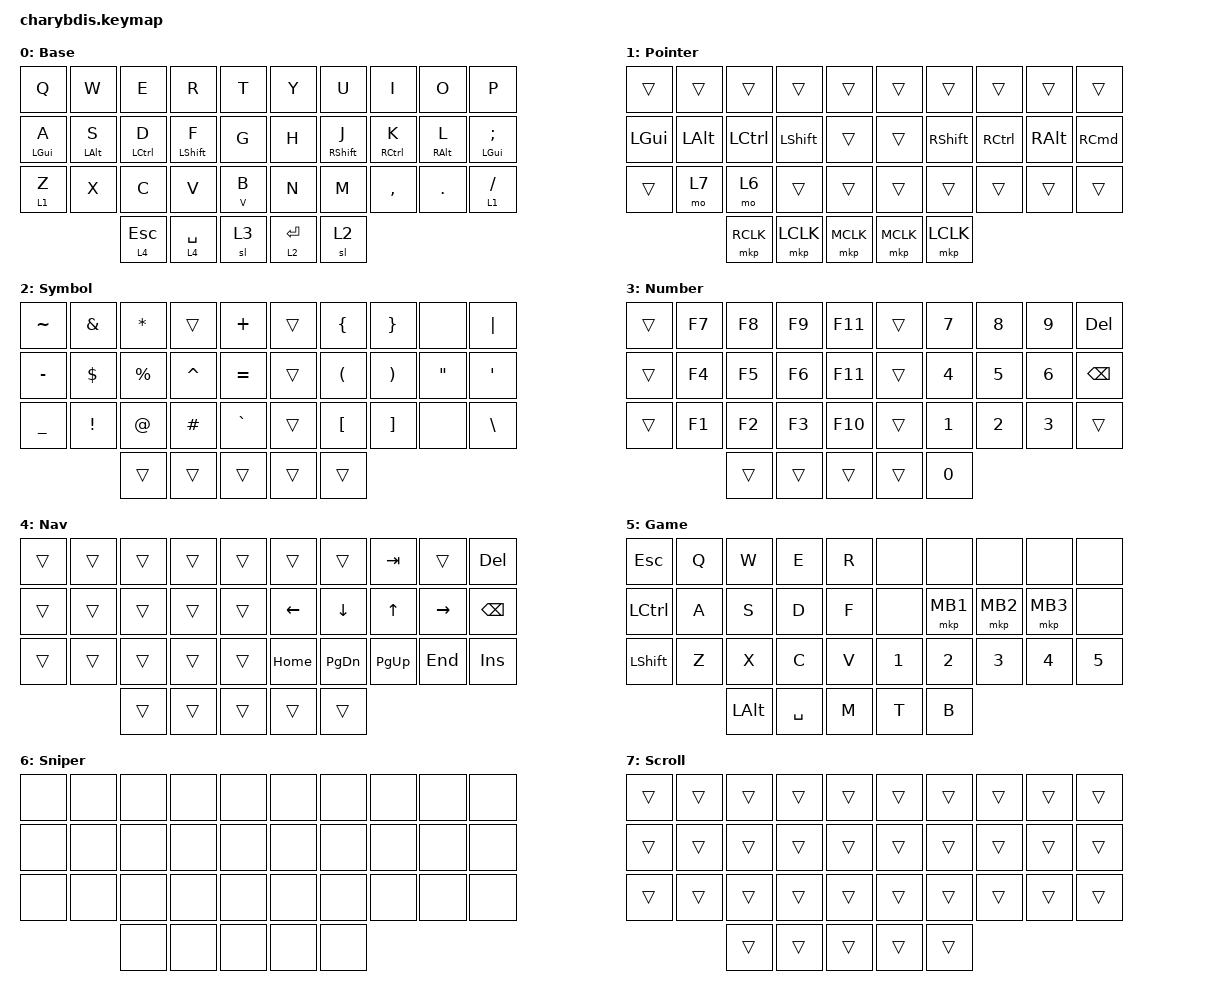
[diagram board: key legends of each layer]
#include <behaviors.dtsi>
#include <dt-bindings/zmk/keys.h>
#include <dt-bindings/zmk/pointing.h>

#define BASE 0
#define MOUSE 1
#define SYMBOL 2
#define NUMBER 3
#define FUNCTION 4
#define GAME 5
#define RESET 6
#define KEYS_L 0 1 2 3 4 10 11 12 13 14 20 21 22 23 24
#define KEYS_R 5 6 7 8 9 15 16 17 18 19 25 26 27 28 29
#define THUMBS 30 31 32 33 34 35

&sk {
    release-after-ms = <600>;
    quick-release;
};

&sl { ignore-modifiers; };

&mt { flavor = "tap-preferred"; };

&lt {
    flavor = "balanced";
    tapping-term-ms = <200>;
    quick-tap-ms = <175>;
};

&caps_word { /delete-property/ ignore-modifiers; };

/ {
    behaviors {
        hml: hml {
            compatible = "zmk,behavior-hold-tap";
            #binding-cells = <2>;
            flavor = "balanced";
            tapping-term-ms = <2000>;
            quick-tap-ms = <175>;
            require-prior-idle-ms = <250>;
            hold-trigger-key-positions = <KEYS_R THUMBS>;
            hold-trigger-on-release;
            bindings = <&kp>, <&kp>;
        };

        hmr: hmr {
            compatible = "zmk,behavior-hold-tap";
            #binding-cells = <2>;
            flavor = "balanced";
            tapping-term-ms = <2000>;
            quick-tap-ms = <175>;
            require-prior-idle-ms = <250>;
            hold-trigger-key-positions = <KEYS_L THUMBS>;
            hold-trigger-on-release;
            bindings = <&kp>, <&kp>;
        };

        hml_s: hml_s {
            compatible = "zmk,behavior-hold-tap";
            #binding-cells = <2>;
            flavor = "balanced";
            tapping-term-ms = <2000>;
            quick-tap-ms = <175>;
            require-prior-idle-ms = <0>;
            hold-trigger-key-positions = <KEYS_R THUMBS>;
            hold-trigger-on-release;
            bindings = <&kp>, <&kp>;
        };

        hmr_s: hmr_s {
            compatible = "zmk,behavior-hold-tap";
            #binding-cells = <2>;
            flavor = "balanced";
            tapping-term-ms = <2000>;
            quick-tap-ms = <175>;
            require-prior-idle-ms = <0>;
            hold-trigger-key-positions = <KEYS_L THUMBS>;
            hold-trigger-on-release;
            bindings = <&kp>, <&kp>;
        };

        smart_shift: smart_shift {
            compatible = "zmk,behavior-mod-morph";
            #binding-cells = <0>;
            bindings = <&sk LSHIFT>, <&caps_word>;

            mods = <(MOD_LSFT)>;
        };
    };

    combos {
        compatible = "zmk,combos";
        timeout-ms = <20>;
        require-prior-idle-ms = <250>;

        combo_reset_layer_left {
            key-positions = <20 24>;
            bindings = <&to RESET>;
        };

        combo_reset_layer_right {
            key-positions = <25 29>;
            bindings = <&to RESET>;
        };

        combo_reset_central {
            key-positions = <32 33>;
            bindings = <&bootloader>;
            require-prior-idle-ms = <2000>;
        };

        combo_normal {
            key-positions = <7 8>;
            bindings = <&to BASE>;
        };

        combo_fn {
            key-positions = <27 28>;
            bindings = <&sl FUNCTION>;
        };

        combo_genshin {
            key-positions = <5 9>;
            bindings = <&to GAME>;
        };

        combo_esc {
            key-positions = <1 2>;
            bindings = <&kp ESCAPE>;
        };

        combo_tab {
            key-positions = <2 3>;
            bindings = <&kp TAB>;
        };

        combo_cdel {
            key-positions = <11 12>;
            bindings = <&kp LC(BACKSPACE)>;
        };

        combo_unlock {
            key-positions = <0 4>;
            bindings = <&studio_unlock>;
        };
    };

    chosen { zmk,physical-layout = &charybdis_5col_layout; };

    keymap {
        compatible = "zmk,keymap";

        Base {
            display-name = "Base";
            bindings = <
  &kp Q        &kp W        &kp E         &kp R              &kp T      &kp Y        &kp U               &kp I         &kp O        &kp P
  &hml LGUI A  &hml LALT S  &hml LCTRL D  &hml LEFT_SHIFT F  &kp G      &kp H        &hmr RIGHT_SHIFT J  &hmr RCTRL K  &hmr RALT L  &hmr LGUI SEMI
  &lt 1 Z      &kp X        &kp C         &kp V              &mt V B    &kp N        &kp M               &kp COMMA     &kp DOT      &lt 1 FSLH
                            &lt 4 ESC     &lt 4 SPACE        &sl 3      &lt 2 ENTER  &sl 2
            >;
        };

        Pointer {
            display-name = "Pointer";
            bindings = <
  &trans    &trans    &trans     &trans          &trans       &trans     &trans           &trans     &trans         &trans
  &kp LGUI  &kp LALT  &kp LCTRL  &kp LEFT_SHIFT  &trans       &trans     &kp RIGHT_SHIFT  &kp RCTRL  &kp RIGHT_ALT  &kp RIGHT_COMMAND
  &trans    &mo 7     &mo 6      &trans          &trans       &trans     &trans           &trans     &trans         &trans
                      &mkp RCLK  &mkp LCLK       &mkp MCLK    &mkp MCLK  &mkp LCLK
            >;
        };

        Sym {
            display-name = "Symbol";
            bindings = <
  &kp TILDE       &kp AMPERSAND    &kp ASTERISK  &trans     &kp PLUS     &trans  &kp LEFT_BRACE        &kp RIGHT_BRACE        &none              &kp PIPE
  &kp MINUS       &kp DOLLAR       &kp PERCENT   &kp CARET  &kp EQUAL    &trans  &kp LEFT_PARENTHESIS  &kp RIGHT_PARENTHESIS  &kp DOUBLE_QUOTES  &kp APOS
  &kp UNDERSCORE  &kp EXCLAMATION  &kp AT_SIGN   &kp HASH   &kp GRAVE    &trans  &kp LEFT_BRACKET      &kp RIGHT_BRACKET      &none              &kp BSLH
                                   &trans        &trans     &trans       &trans  &trans
            >;
        };

        Num {
            display-name = "Number";
            bindings = <
  &trans  &kp F7  &kp F8  &kp F9  &kp F11    &trans  &kp NUMBER_7  &kp N8        &kp NUMBER_9  &kp DELETE
  &trans  &kp F4  &kp F5  &kp F6  &kp F11    &trans  &kp NUMBER_4  &kp NUMBER_5  &kp NUMBER_6  &kp BACKSPACE
  &trans  &kp F1  &kp F2  &kp F3  &kp F10    &trans  &kp NUMBER_1  &kp NUMBER_2  &kp NUMBER_3  &trans
                  &trans  &trans  &trans     &trans  &kp N0
            >;
        };

        Nav {
            display-name = "Nav";
            bindings = <
  &trans  &trans  &trans  &trans  &trans    &trans          &trans          &kp TAB       &trans           &kp DELETE
  &trans  &trans  &trans  &trans  &trans    &kp LEFT_ARROW  &kp DOWN_ARROW  &kp UP_ARROW  &kp RIGHT_ARROW  &kp BACKSPACE
  &trans  &trans  &trans  &trans  &trans    &kp HOME        &kp PAGE_DOWN   &kp PAGE_UP   &kp END          &kp INS
                  &trans  &trans  &trans    &trans          &trans
            >;
        };

        Button {
            display-name = "Game";
            bindings = <
  &kp ESCAPE  &kp Q  &kp W     &kp E      &kp R    &none   &none     &none     &none     &none
  &kp LCTRL   &kp A  &kp S     &kp D      &kp F    &none   &mkp MB1  &mkp MB2  &mkp MB3  &none
  &kp LSHIFT  &kp Z  &kp X     &kp C      &kp V    &kp N1  &kp N2    &kp N3    &kp N4    &kp N5
                     &kp LALT  &kp SPACE  &kp M    &kp T   &kp B
            >;
        };

        Sniper {
            display-name = "Sniper";
            bindings = <
  &none  &none  &none  &none  &none    &none  &none  &none  &none  &none
  &none  &none  &none  &none  &none    &none  &none  &none  &none  &none
  &none  &none  &none  &none  &none    &none  &none  &none  &none  &none
                &none  &none  &none    &none  &none
            >;
        };

        Scroll {
            bindings = <
  &trans  &trans  &trans  &trans  &trans    &trans  &trans  &trans  &trans  &trans
  &trans  &trans  &trans  &trans  &trans    &trans  &trans  &trans  &trans  &trans
  &trans  &trans  &trans  &trans  &trans    &trans  &trans  &trans  &trans  &trans
                  &trans  &trans  &trans    &trans  &trans
            >;
        };
    };
};
